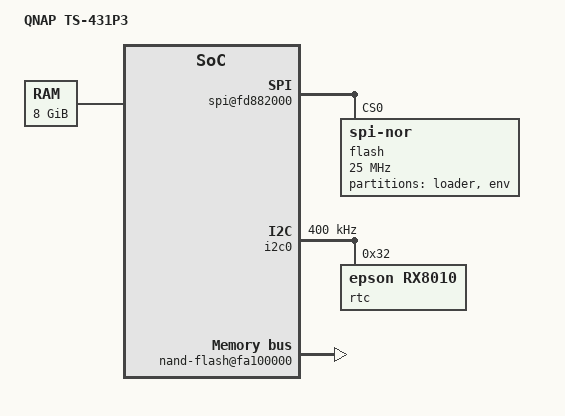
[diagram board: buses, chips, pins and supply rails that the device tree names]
/*
 * Device Tree for QNAP TS-431P (Annapurna Labs Alpine AL-212)
 *
 * Based on alpine.dtsi (kernel mainline) with additions from
 * the QNAP stock DTB for serdes, watchdog, thermal, and I2C.
 *
 * PCIe uses pci-host-ecam-generic (from alpine.dtsi) for SATA.
 * Ethernet board params are in MAC scratch registers (set by U-Boot).
 * Only the serdes node is needed from DT for al_eth network driver.
 */

/dts-v1/;

#include "alpine.dtsi"

/ {
	model = "QNAP TS-431P3";
	compatible = "qnap,ts-431p3", "al,alpine";

	/* AL-314: 4 core attivi */

	memory {
		device_type = "memory";
		reg = <0x0 0x0 0x0 0x80000000 0x0 0x80000000 0x0 0x40000000 0x2 0x0 0x0 0x40000000 0x1 0x0 0x1 0x0>; /* copied from the QNAP DTB (up to 8 GB, needs LPAE); see README about RAM size */
	};

	soc {

		/* SPI: boot loader chip (U-Boot + environment) */
		spi@fd882000 {
			compatible = "snps,dw-apb-ssi";
			reg = <0x0 0xfd882000 0x0 0x1000>;
			interrupts = <GIC_SPI 23 IRQ_TYPE_LEVEL_HIGH>;
			clocks = <&sbclk>;
			num-cs = <4>;
			#address-cells = <1>;
			#size-cells = <0>;

			flash@0 {
				compatible = "jedec,spi-nor";
				reg = <0>;
				spi-max-frequency = <25000000>;
				#address-cells = <1>;
				#size-cells = <1>;

				partition@0 {
					label = "loader";
					reg = <0x0 0x110000>;
					read-only;
				};

				partition@110000 {
					label = "env";
					reg = <0x110000 0x60000>;
					read-only;
				};
			};
		};

		/* SerDes — required by al_eth driver */
		serdes@fd8c0000 {
			compatible = "annapurna-labs,al-serdes";
			reg = <0x0 0xfd8c0000 0x0 0x1000>;
		};

		/* PBS registers */
		pbs@fd8a8000 {
			compatible = "al,alpine-pbs", "annapurna-labs,al-pbs";
			reg = <0x0 0xfd8a8000 0x0 0x1000>;
		};

		/* Watchdog (sp805) — for systemd watchdog feeding */
		wdt0: wdt@fd88c000 {
			compatible = "arm,sp805", "arm,primecell";
			reg = <0x0 0xfd88c000 0x0 0x1000>;
			interrupts = <GIC_SPI 13 IRQ_TYPE_LEVEL_HIGH>;
			clocks = <&sbclk>;
			clock-names = "apb_pclk";
		};

		/* Timer (sp804) — needed for clock source */
		timer1: timer@fd891000 {
			compatible = "arm,sp804", "arm,primecell";
			reg = <0x0 0xfd891000 0x0 0x1000>;
			interrupts = <GIC_SPI 10 IRQ_TYPE_LEVEL_HIGH>;
			clocks = <&sbclk>;
			clock-names = "sbclk";
		};

		/* I2C — for RTC (Epson RX8010) and PIC controller */
		i2c0: i2c@fd880000 {
			#address-cells = <1>;
			#size-cells = <0>;
			compatible = "snps,designware-i2c";
			reg = <0x0 0xfd880000 0x0 0x1000>;
			interrupts = <GIC_SPI 21 IRQ_TYPE_LEVEL_HIGH>;
			clocks = <&sbclk>;
			clock-frequency = <400000>;

			rtc@32 {
				compatible = "epson,rx8010";
				reg = <0x32>;
			};
		};

		/* Thermal sensor */
		thermal: thermal@fd860a00 {
			compatible = "al,alpine-thermal", "annapurna-labs,al-thermal";
			reg = <0x0 0xfd860a00 0x0 0x100>;
			#thermal-sensor-cells = <0>;
		};

		/* NAND flash controller */
		nand-flash@fa100000 {
			compatible = "al,alpine-nand", "annapurna-labs,al-nand";
			reg = <0x0 0xfa100000 0x0 0x202000>;
			interrupts = <GIC_SPI 1 IRQ_TYPE_LEVEL_HIGH>;
			clocks = <&sbclk>;
			clock-names = "sbclk";
			#address-cells = <1>;
			#size-cells = <1>;

			partition@0 {
				label = "boot1_kernel";
				reg = <0x0 0x2000000>;
			};

			partition@2000000 {
				label = "boot1_rootfs2";
				reg = <0x2000000 0xd800000>;
			};

			partition@f800000 {
				label = "boot2_kernel";
				reg = <0xf800000 0x2000000>;
			};

			partition@11800000 {
				label = "boot2_rootfs2";
				reg = <0x11800000 0xd800000>;
			};

			partition@1f000000 {
				label = "config";
				reg = <0x1f000000 0xf00000>;
			};
		};

		/* GPIO controllers */
		gpio0: gpio@fd887000 {
			#gpio-cells = <2>;
			compatible = "arm,pl061", "arm,primecell";
			gpio-controller;
			reg = <0x0 0xfd887000 0x0 0x1000>;
			interrupts = <GIC_SPI 2 IRQ_TYPE_LEVEL_HIGH>;
			clocks = <&sbclk>;
			clock-names = "apb_pclk";
		};

		gpio1: gpio@fd888000 {
			#gpio-cells = <2>;
			compatible = "arm,pl061", "arm,primecell";
			gpio-controller;
			reg = <0x0 0xfd888000 0x0 0x1000>;
			interrupts = <GIC_SPI 3 IRQ_TYPE_LEVEL_HIGH>;
			clocks = <&sbclk>;
			clock-names = "apb_pclk";
		};

		/* SB clock reference — needed by timers, watchdog, I2C */
		sbclk: sbclk {
			#clock-cells = <0>;
			compatible = "fixed-clock";
			clock-frequency = <375000000>; /* 375 MHz */
		};
	};

	thermal-zones {
		cpu-thermal {
			polling-delay-passive = <250>;
			polling-delay = <1000>;
			thermal-sensors = <&thermal>;

			trips {
				cpu-crit {
					temperature = <105000>;
					hysteresis = <2000>;
					type = "critical";
				};
			};
		};
	};
};

/* GPIO controllers 2-4 (from the QTS DTB) and HDD LEDs (al-sata-sw-leds, read by ahci.c) */
/ {
	soc {
		gpio2: gpio@fd889000 {
			#gpio-cells = <2>;
			compatible = "arm,pl061", "arm,primecell";
			gpio-controller;
			reg = <0x0 0xfd889000 0x0 0x1000>;
			interrupts = <GIC_SPI 4 IRQ_TYPE_LEVEL_HIGH>;
			clocks = <&sbclk>;
			clock-names = "apb_pclk";
		};
		gpio3: gpio@fd88a000 {
			#gpio-cells = <2>;
			compatible = "arm,pl061", "arm,primecell";
			gpio-controller;
			reg = <0x0 0xfd88a000 0x0 0x1000>;
			interrupts = <GIC_SPI 5 IRQ_TYPE_LEVEL_HIGH>;
			clocks = <&sbclk>;
			clock-names = "apb_pclk";
		};
		gpio4: gpio@fd88b000 {
			#gpio-cells = <2>;
			compatible = "arm,pl061", "arm,primecell";
			gpio-controller;
			reg = <0x0 0xfd88b000 0x0 0x1000>;
			interrupts = <GIC_SPI 6 IRQ_TYPE_LEVEL_HIGH>;
			clocks = <&sbclk>;
			clock-names = "apb_pclk";
		};
	};

	sata_sw_leds {
		compatible = "annapurna-labs,al-sata-sw-leds";
		led4 { pci_domain = <0>; pci_bus = <0>; pci_dev = <9>; port = <0>; gpios = <&gpio3 0 0>; };
		led5 { pci_domain = <0>; pci_bus = <0>; pci_dev = <9>; port = <1>; gpios = <&gpio3 1 0>; };
		led6 { pci_domain = <0>; pci_bus = <0>; pci_dev = <9>; port = <2>; gpios = <&gpio4 4 0>; };
		led7 { pci_domain = <0>; pci_bus = <0>; pci_dev = <9>; port = <3>; gpios = <&gpio4 5 0>; };
	};
};
